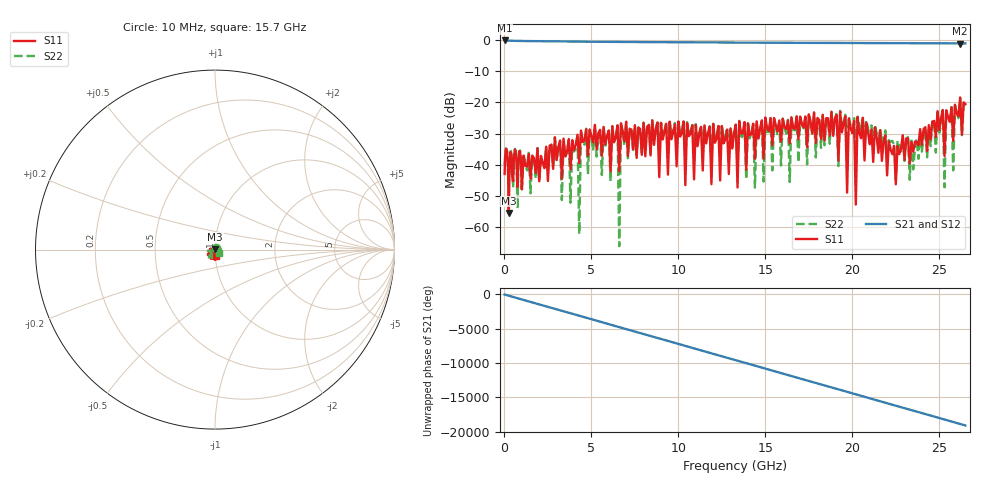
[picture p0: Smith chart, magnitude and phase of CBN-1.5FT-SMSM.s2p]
!Date: 4/18/2025 at 3:52:51 PM
!Mini-Circuits
!S2P DATA File Format
!Type: CABLE
!Model: CBN-1.5FT-SMSM+
!S/N: 25C_01
!DUT PIN OUT: INPUT-PORT 1, OUTPUT-PORT 2
!TEST CONDITIONS: Z:50 OHM SYSTEM, INPUT POWER = -10 dBm, TEMP:25°C
!RUN#: YH0952_QN2513090
!REMARKS: Calibrated using 40 GHz Ecal and performed two port de-embedding.
!TESTED ON: Network Analyzer PNA-X N5242A - 423 4 ports (COM/DCOM);  Serial number: 74302
# Hz  S  dB  R  50
!Frequency  S11 dB  S11 Deg  S21 dB  S21 Deg  S12 dB  S12 Deg  S22 dB  S22 Deg
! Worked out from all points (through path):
!   283 points, 10 MHz to 26.5 GHz, reference 50 ohm
!   highest |S21| = -0.01 dB at 20 MHz (marker M1); lowest = -1.0 dB at 26.2 GHz (marker M2)
!   lowest |S11| = -55.7 dB at 250 MHz (marker M3), VSWR 1.00, Z = 50.1 + j0.15 ohm
!   |S11| at or under -10 dB: start of sweep to end of sweep
!   |S22| runs from -66.3 to -18.6 dB; largest |S21 - S12| = 0.0096
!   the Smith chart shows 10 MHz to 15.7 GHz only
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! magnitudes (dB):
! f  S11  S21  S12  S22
! 10 MHz  -43.1  0.0  0.0  -40.2
! 20 MHz  -40.8  0.0  0.0  -39.8
! 250 MHz  -55.7  -0.1  -0.1  -46.5
! 4.2 GHz  -30.4  -0.4  -0.4  -30.4
! 4.3 GHz  -39.5  -0.4  -0.4  -62.4
! 4.5 GHz  -32.8  -0.4  -0.4  -32.6
! 6.5 GHz  -27.4  -0.5  -0.5  -27.3
! 6.6 GHz  -42.2  -0.5  -0.5  -66.3
! 6.7 GHz  -26.7  -0.5  -0.5  -27.1
! 8.9 GHz  -44.1  -0.6  -0.6  -38.7
! 13.3 GHz  -27.2  -0.7  -0.7  -27.2
! 17.7 GHz  -30.1  -0.8  -0.8  -30.5
! 19.6 GHz  -24.4  -0.8  -0.8  -24.0
! 19.7 GHz  -49.0  -0.8  -0.8  -36.9
! 20.1 GHz  -25.9  -0.8  -0.8  -25.1
! 20.2 GHz  -52.9  -0.8  -0.8  -35.7
! 20.3 GHz  -24.8  -0.8  -0.8  -24.6
! 22.1 GHz  -32.5  -0.9  -0.9  -32.2
! 25.2 GHz  -22.5  -0.9  -1.0  -22.4
! 25.3 GHz  -37.3  -0.9  -0.9  -47.3
! 26.2 GHz  -18.4  -1.0  -1.1  -18.6
! 26.5 GHz  -20.5  -1.0  -1.0  -20.4
